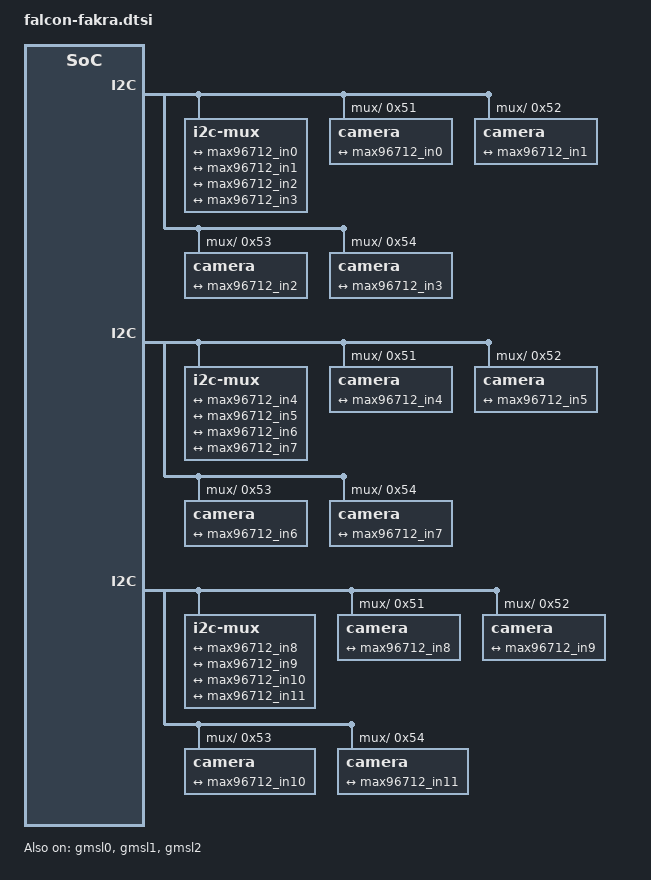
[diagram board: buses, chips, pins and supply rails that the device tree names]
// SPDX-License-Identifier: GPL-2.0+
/*
 * Device Tree Source (overlay) for the Falcon V3U FAKRA connectors
 *
 * Copyright (C) 2020 Renesas Electronics Corp.
 *
 * This overlay allows you to define cameras connected to the FAKRA connectors
 * on the Falcon-V3U (or compatible) board.
 *
 * Enable the cameras by specifying the camera compatible on the appropriate
 * line. Comment out the defines to disconnect the camera from the DTB.
 *
 * The following cameras are currently supported:
 *    "xxxxx" T.B.D.
 */

#include <dt-bindings/gpio/gpio.h>

/* T.B.D. */
#define FALCON_CAMERA0  "renesas_camera"
#define FALCON_CAMERA1  "renesas_camera"
#define FALCON_CAMERA2  "renesas_camera"
#define FALCON_CAMERA3  "renesas_camera"
#define FALCON_CAMERA4  "renesas_camera"
#define FALCON_CAMERA5  "renesas_camera"
#define FALCON_CAMERA6  "renesas_camera"
#define FALCON_CAMERA7  "renesas_camera"
#define FALCON_CAMERA8  "renesas_camera"
#define FALCON_CAMERA9  "renesas_camera"
#define FALCON_CAMERA10 "renesas_camera"
#define FALCON_CAMERA11 "renesas_camera"

/* Define the endpoint links */
#ifdef FALCON_CAMERA0
&max96712_in0 {
	remote-endpoint = <&fakra_con0>;
};
#endif

#ifdef FALCON_CAMERA1
&max96712_in1 {
	remote-endpoint = <&fakra_con1>;
};
#endif

#ifdef FALCON_CAMERA2
&max96712_in2 {
	remote-endpoint = <&fakra_con2>;
};
#endif

#ifdef FALCON_CAMERA3
&max96712_in3 {
	remote-endpoint = <&fakra_con3>;
};
#endif

#ifdef FALCON_CAMERA4
&max96712_in4 {
	remote-endpoint = <&fakra_con4>;
};
#endif

#ifdef FALCON_CAMERA5
&max96712_in5 {
	remote-endpoint = <&fakra_con5>;
};
#endif

#ifdef FALCON_CAMERA6
&max96712_in6 {
	remote-endpoint = <&fakra_con6>;
};
#endif

#ifdef FALCON_CAMERA7
&max96712_in7 {
	remote-endpoint = <&fakra_con7>;
};
#endif

#ifdef FALCON_CAMERA8
&max96712_in8 {
	remote-endpoint = <&fakra_con8>;
};
#endif

#ifdef FALCON_CAMERA9
&max96712_in9 {
	remote-endpoint = <&fakra_con9>;
};
#endif

#ifdef FALCON_CAMERA10
&max96712_in10 {
	remote-endpoint = <&fakra_con10>;
};
#endif

#ifdef FALCON_CAMERA11
&max96712_in11 {
	remote-endpoint = <&fakra_con11>;
};
#endif

/* Cameras are 'attached' to the GMSL I2C busses */
&gmsl0 {

#if defined(FALCON_CAMERA0) || defined(FALCON_CAMERA1) || \
    defined(FALCON_CAMERA2) || defined(FALCON_CAMERA3)
	status = "okay";

#endif

	i2c-mux {
#ifdef FALCON_CAMERA0
		i2c@0 {
			status = "okay";

			camera@51 {
				compatible = FALCON_CAMERA0;
				reg = <0x51>, <0x61>;

				port {
					fakra_con0: endpoint {
						remote-endpoint = <&max96712_in0>;
					};
				};
			};
		};
#endif

#ifdef FALCON_CAMERA1
		i2c@1 {
			status = "okay";

			camera@52 {
				compatible = FALCON_CAMERA1;
				reg = <0x52>, <0x62>;

				port {
					fakra_con1: endpoint {
						remote-endpoint = <&max96712_in1>;
					};
				};
			};
		};
#endif

#ifdef FALCON_CAMERA2
		i2c@2 {
			status = "okay";

			camera@53 {
				compatible = FALCON_CAMERA2;
				reg = <0x53>, <0x63>;

				port {
					fakra_con2: endpoint {
						remote-endpoint = <&max96712_in2>;
					};
				};
			};
		};
#endif

#ifdef FALCON_CAMERA3
		i2c@3 {
			status = "okay";

			camera@54 {
				compatible = FALCON_CAMERA3;
				reg = <0x54>, <0x64>;

				port {
					fakra_con3: endpoint {
						remote-endpoint = <&max96712_in3>;
					};
				};
			};
		};
#endif
	};
};

&gmsl1 {

#if defined(FALCON_CAMERA4) || defined(FALCON_CAMERA5) || \
    defined(FALCON_CAMERA6) || defined(FALCON_CAMERA7)
	status = "okay";

#endif

	i2c-mux {
#ifdef FALCON_CAMERA4
		i2c@0 {
			status = "okay";

			camera@51 {
				compatible = FALCON_CAMERA4;
				reg = <0x51>, <0x61>;

				port {
					fakra_con4: endpoint {
						remote-endpoint = <&max96712_in4>;
					};
				};
			};
		};
#endif

#ifdef FALCON_CAMERA5
		i2c@1 {
			status = "okay";

			camera@52 {
				compatible = FALCON_CAMERA5;
				reg = <0x52>, <0x62>;

				port {
					fakra_con5: endpoint {
						remote-endpoint = <&max96712_in5>;
					};
				};
			};
		};
#endif

#ifdef FALCON_CAMERA6
		i2c@2 {
			status = "okay";

			camera@53 {
				compatible = FALCON_CAMERA6;
				reg = <0x53>, <0x63>;

				port {
					fakra_con6: endpoint {
						remote-endpoint = <&max96712_in6>;
					};
				};
			};
		};
#endif

#ifdef FALCON_CAMERA7
		i2c@3 {
			status = "okay";

			camera@54 {
				compatible = FALCON_CAMERA7;
				reg = <0x54>, <0x64>;

				port {
					fakra_con7: endpoint {
						remote-endpoint = <&max96712_in7>;
					};
				};
			};
		};
#endif
	};
};

&gmsl2 {

#if defined(FALCON_CAMERA8) || defined(FALCON_CAMERA9) || \
    defined(FALCON_CAMERA10) || defined(FALCON_CAMERA11)
	status = "okay";

#endif

	i2c-mux {
#ifdef FALCON_CAMERA8
		i2c@0 {
			status = "okay";

			camera@51 {
				compatible = FALCON_CAMERA8;
				reg = <0x51>, <0x61>;

				port {
					fakra_con8: endpoint {
						remote-endpoint = <&max96712_in8>;
					};
				};
			};
		};
#endif

#ifdef FALCON_CAMERA9
		i2c@1 {
			status = "okay";

			camera@52 {
				compatible = FALCON_CAMERA9;
				reg = <0x52>, <0x62>;

				port {
					fakra_con9: endpoint {
						remote-endpoint = <&max96712_in9>;
					};
				};
			};
		};
#endif

#ifdef FALCON_CAMERA10
		i2c@2 {
			status = "okay";

			camera@53 {
				compatible = FALCON_CAMERA10;
				reg = <0x53>, <0x63>;

				port {
					fakra_con10: endpoint {
						remote-endpoint = <&max96712_in10>;
					};
				};
			};
		};
#endif

#ifdef FALCON_CAMERA11
		i2c@3 {
			status = "okay";

			camera@54 {
				compatible = FALCON_CAMERA11;
				reg = <0x54>, <0x64>;

				port {
					fakra_con11: endpoint {
						remote-endpoint = <&max96712_in11>;
					};
				};
			};
		};
#endif
	};
};
